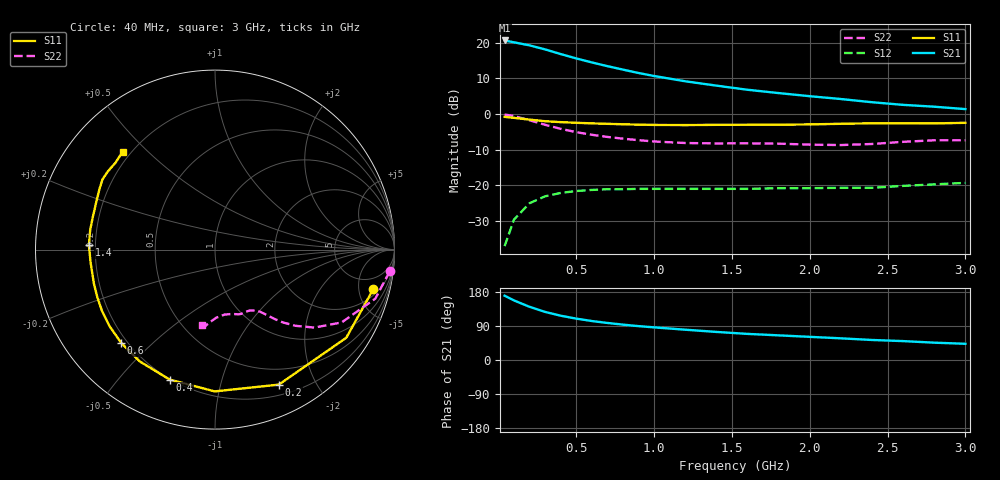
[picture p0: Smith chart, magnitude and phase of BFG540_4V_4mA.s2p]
! Filename:  BFG540A.S2P  Version:  3.0
! Philips part #: BFG540  Date: Feb 1992
! Bias condition: Vce=4V, Ic=4mA
! IN LINE PINNING: same data as with cross emitter pinning.
#  MHz  S  MA  R  50
! Freq  S11  S21  S12  S22  !GUM [dB]
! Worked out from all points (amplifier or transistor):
!   21 points, 40 MHz to 3 GHz, reference 50 ohm
!   highest |S21| = 20.6 dB at 40 MHz (marker M1)
!   |S21| within 3 dB of that: start of sweep to 337.9 MHz
!   unconditionally stable (mu >= 1): 1.751 GHz to end of sweep
!   at 300 MHz: K = 0.17, MSG = 20.6 dB, |S12| = -23.1 dB
!   at 1 GHz: K = 0.59, MSG = 15.8 dB, |S12| = -21.0 dB
!   at 3 GHz: K = 1.33, MAG = 6.9 dB, |S12| = -19.3 dB
!   S11 on the Smith chart (normalised r, x): 40 MHz: 2.79, -7.06; 200 MHz: 0.31, -1.53; 400 MHz: 0.20, -0.69; 600 MHz: 0.18, -0.40; 1.4 GHz: 0.17, +0.02; 3 GHz: 0.17, +0.42
40  0.909 -14.0  10.71 169.8  0.014 82.2  0.981 -7.1
100  0.881 -33.9  10.08 157.2  0.033 70.3  0.934 -17.0
200  0.832 -64.7  9.138 140.4  0.056 55.2  0.814 -29.9
300  0.79 -90.1  8.025 126.9  0.07 44.9  0.704 -38.1
400  0.767 -109.2  6.901 116.9  0.078 38.0  0.618 -43.4
500  0.751 -123.9  5.996 109.2  0.083 33.6  0.555 -47.0
600  0.737 -135.2  5.269 102.9  0.086 30.7  0.51 -49.3
700  0.726 -144.2  4.673 97.8  0.088 28.5  0.476 -51.0
800  0.716 -151.7  4.177 93.3  0.088 27.1  0.45 -52.5
900  0.707 -158.1  3.748 89.4  0.089 26.4  0.428 -54.0
1000  0.701 -164.1  3.4 86.1  0.089 26.3  0.411 -55.7
1200  0.697 -174.2  2.867 80.0  0.089 26.6  0.391 -60.0
1400  0.703 177.8  2.492 74.1  0.089 27.0  0.386 -64.4
1600  0.704 170.9  2.181 68.9  0.089 30.0  0.387 -67.6
1800  0.705 164.4  1.959 65.0  0.091 32.1  0.383 -70.4
2000  0.713 157.9  1.771 61.1  0.091 35.5  0.371 -74.9
2200  0.727 152.3  1.617 57.2  0.092 38.6  0.366 -81.6
2400  0.739 148.0  1.458 52.8  0.092 42.6  0.379 -88.8
2600  0.739 143.9  1.339 49.9  0.098 45.9  0.406 -94.1
2800  0.736 138.9  1.262 45.7  0.103 47.8  0.427 -96.9
3000  0.75 133.3  1.168 42.8  0.108 52.2  0.427 -99.8
